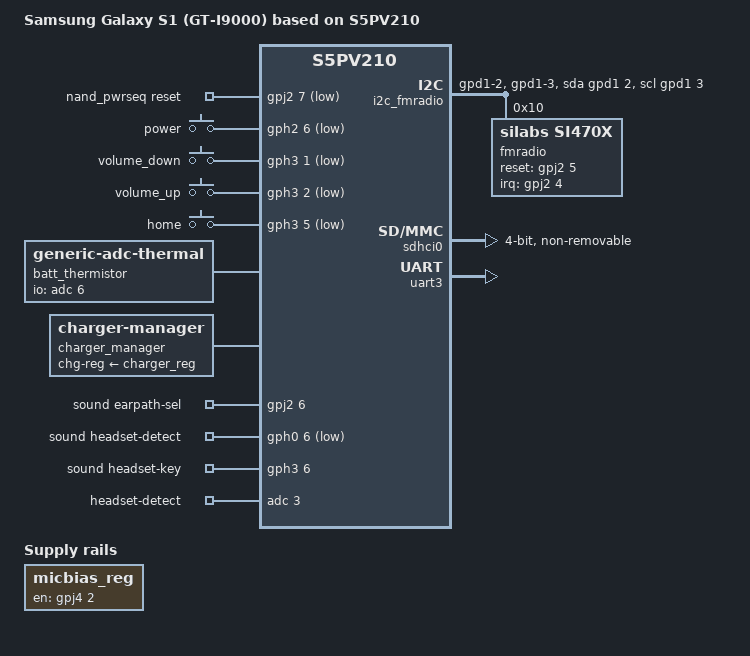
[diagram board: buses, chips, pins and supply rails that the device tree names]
// SPDX-License-Identifier: GPL-2.0

/dts-v1/;
#include <dt-bindings/gpio/gpio.h>
#include <dt-bindings/input/input.h>
#include "s5pv210-aries.dtsi"

/ {
	model = "Samsung Galaxy S1 (GT-I9000) based on S5PV210";
	compatible = "samsung,galaxys", "samsung,aries", "samsung,s5pv210";

	aliases {
		i2c8 = &i2c_fmradio;
	};

	chosen {
		stdout-path = &uart2;
	};

	micbias_reg: regulator-fixed-2 {
		compatible = "regulator-fixed";
		regulator-name = "MICBIAS";
		gpio = <&gpj4 2 GPIO_ACTIVE_HIGH>;
		enable-active-high;

		pinctrl-names = "default";
		pinctrl-0 = <&micbias_reg_ena>;
	};

	nand_pwrseq: nand-pwrseq {
		compatible = "mmc-pwrseq-simple";
		reset-gpios = <&gpj2 7 GPIO_ACTIVE_LOW>;
		pinctrl-names = "default";
		pinctrl-0 = <&massmemory_en>;
	};

	gpio-keys {
		compatible = "gpio-keys";

		power {
			label = "power";
			gpios = <&gph2 6 GPIO_ACTIVE_LOW>;
			linux,code = <KEY_POWER>;
			wakeup-source;
		};

		vol-down {
			label = "volume_down";
			gpios = <&gph3 1 GPIO_ACTIVE_LOW>;
			linux,code = <KEY_VOLUMEDOWN>;
		};

		vol-up {
			label = "volume_up";
			gpios = <&gph3 2 GPIO_ACTIVE_LOW>;
			linux,code = <KEY_VOLUMEUP>;
		};

		home {
			label = "home";
			gpios = <&gph3 5 GPIO_ACTIVE_LOW>;
			linux,code = <KEY_HOME>;
			wakeup-source;
		};
	};

	thermal-zones {
		batt_thermal: batt-thermal {
			polling-delay-passive = <60000>; /* 60 seconds */
			polling-delay = <600000>; /* 600 seconds */

			thermal-sensors = <&batt_thermistor>;
		};
	};

	batt_thermistor: thermal-sensor-0 {
		compatible = "generic-adc-thermal";
		#thermal-sensor-cells = <0>;
		io-channels = <&adc 6>;
		io-channel-names = "sensor-channel";

		temperature-lookup-table = <
			(-7000) 1667
			(-6000) 1658
			(-5000) 1632
			(-4000) 1619
			(-3000) 1614
			(-2000) 1596
			(-1000) 1577
			0 1559
			1000 1536
			2000 1513
			3000 1491
			4000 1468
			5000 1445
			6000 1421
			7000 1396
			8000 1372
			9000 1348
			10000 1324
			11000 1299
			12000 1275
			13000 1251
			14000 1226
			15000 1202
			16000 1178
			17000 1155
			18000 1131
			19000 1108
			20000 1084
			21000 1060
			22000 1037
			23000 1013
			24000 990
			25000 966
			26000 943
			27000 920
			28000 898
			29000 875
			30000 852
			31000 829
			32000 806
			33000 784
			34000 761
			35000 738
			36000 718
			37000 697
			38000 677
			39000 656
			40000 636
			41000 615
			42000 595
			43000 574
			44000 554
			45000 533
			46000 518
			47000 503
			48000 487
			49000 472
			50000 457
			51000 442
			52000 427
			53000 411
			54000 396
			55000 381
			56000 368
			57000 354
			58000 341
			59000 324
			60000 306
			61000 299
			62000 293
			63000 286
			64000 275
			65000 264>;
	};

	charger_manager: charger-manager@0 {
		compatible = "charger-manager";

		cm-name = "cm-battery";

		chg-reg-supply = <&charger_reg>;

		/* poll when externally connected */
		cm-poll-mode = <2>;
		cm-poll-interval = <30>;

		/* read supply status for status */
		cm-battery-stat = <0>;

		cm-battery-temp-diff = <5>;
		cm-battery-hot = <6300>;
		cm-battery-cold = <400>;
		cm-battery-cold-in-minus;

		/* 6hr max charging time */
		cm-charging-max = <21600000>;
		/* 1.5hr max discharging time */
		cm-discharging-max = <5400000>;

		cm-fuel-gauge = "battery";

		cm-fullbatt-voltage = <4176000>;
		cm-fullbatt-vchkdrop-ms = <30000>;
		cm-fullbatt-vchkdrop-volt = <176000>;
		cm-fullbatt-soc = <92>;

		cm-num-chargers = <1>;
		cm-chargers = "max8998_pmic";

		cm-thermal-zone = "batt-thermal";

		regulator@0 {
			cm-regulator-name = "chg-reg";
			cable@0 {
				cm-cable-name = "USB";
				cm-cable-extcon = "7-0025";
				cm-cable-min = <475000>;
				cm-cable-max = <500000>;
			};
			cable@1 {
				cm-cable-name = "TA";
				cm-cable-extcon = "7-0025";
				cm-cable-min = <380000>;
				cm-cable-max = <600000>;
			};
		};
	};

	i2c_fmradio: i2c-gpio-6 {
		compatible = "i2c-gpio";
		sda-gpios = <&gpd1 2 (GPIO_ACTIVE_HIGH | GPIO_OPEN_DRAIN)>;
		scl-gpios = <&gpd1 3 (GPIO_ACTIVE_HIGH | GPIO_OPEN_DRAIN)>;
		i2c-gpio,delay-us = <2>;
		#address-cells = <1>;
		#size-cells = <0>;

		pinctrl-names = "default";
		pinctrl-0 = <&fm_i2c_pins>;

		fmradio@10 {
			compatible = "silabs,si470x";
			reg = <0x10>;
			interrupt-parent = <&gpj2>;
			interrupts = <4 IRQ_TYPE_EDGE_FALLING>;
			reset-gpios = <&gpj2 5 GPIO_ACTIVE_HIGH>;

			pinctrl-names = "default";
			pinctrl-0 = <&fm_irq &fm_rst>;
		};
	};

	sound {
		compatible = "samsung,aries-wm8994";

		model = "Aries";

		dock-extcon = <&fsa9480>;

		samsung,modem-format = "dsp_a";
		samsung,modem-bitclock-inversion;
		samsung,modem-bitclock-master;
		samsung,modem-frame-master;

		main-micbias-supply = <&micbias_reg>;
		headset-micbias-supply = <&micbias_reg>;

		earpath-sel-gpios = <&gpj2 6 GPIO_ACTIVE_HIGH>;

		io-channels = <&adc 3>;
		io-channel-names = "headset-detect";
		headset-detect-gpios = <&gph0 6 GPIO_ACTIVE_LOW>;
		headset-key-gpios = <&gph3 6 GPIO_ACTIVE_HIGH>;

		samsung,audio-routing =
			"HP", "HPOUT1L",
			"HP", "HPOUT1R",

			"SPK", "SPKOUTLN",
			"SPK", "SPKOUTLP",

			"RCV", "HPOUT2N",
			"RCV", "HPOUT2P",

			"LINE", "LINEOUT2N",
			"LINE", "LINEOUT2P",

			"IN1LP", "Main Mic",
			"IN1LN", "Main Mic",

			"IN1RP", "Headset Mic",
			"IN1RN", "Headset Mic",

			"IN2LN", "FM In",
			"IN2RN", "FM In";

		pinctrl-names = "default";
		pinctrl-0 = <&headset_det &earpath_sel>;

		cpu {
			sound-dai = <&i2s0>;
		};

		codec {
			sound-dai = <&wm8994>;
		};
	};
};

&modem {
	compatible = "samsung,intel-xmm6160";

	phone_active-gpios = <&gph1 7 GPIO_ACTIVE_HIGH>;
	pda_active-gpios = <&mp03 3 GPIO_ACTIVE_HIGH>;
	cp_reset-gpios = <&gph1 0 GPIO_ACTIVE_HIGH>;

	pinctrl-0 = <&eint15 &pda_active &cp_rst>;
	pinctrl-names = "default";
};

&pinctrl0 {
	pinctrl-names = "default";
	pinctrl-0 = <&sleep_cfg>;

	headset_det: headset-det {
		samsung,pins = "gph0-6", "gph3-6";
		samsung,pin-function = <EXYNOS_PIN_FUNC_F>;
		samsung,pin-pud = <S3C64XX_PIN_PULL_NONE>;
	};

	cp_rst: cp-rst {
		samsung,pins = "gph1-0";
		samsung,pin-function = <EXYNOS_PIN_FUNC_OUTPUT>;
		samsung,pin-pud = <S3C64XX_PIN_PULL_NONE>;
		samsung,pin-drv = <EXYNOS4_PIN_DRV_LV1>;
		samsung,pin-val = <0>;
	};

	fm_i2c_pins: fm-i2c-pins {
		samsung,pins = "gpd1-2", "gpd1-3";
		samsung,pin-pud = <S3C64XX_PIN_PULL_NONE>;
		samsung,pin-drv = <EXYNOS4_PIN_DRV_LV1>;
	};

	fm_irq: fm-irq {
		samsung,pins = "gpj2-4";
		samsung,pin-function = <EXYNOS_PIN_FUNC_INPUT>;
		samsung,pin-pud = <S3C64XX_PIN_PULL_UP>;
		samsung,pin-drv = <EXYNOS4_PIN_DRV_LV1>;
	};

	fm_rst: fm-rst {
		samsung,pins = "gpj2-5";
		samsung,pin-function = <EXYNOS_PIN_FUNC_OUTPUT>;
		samsung,pin-pud = <S3C64XX_PIN_PULL_NONE>;
		samsung,pin-drv = <EXYNOS4_PIN_DRV_LV1>;
	};

	earpath_sel: earpath-sel {
		samsung,pins = "gpj2-6";
		samsung,pin-pud = <S3C64XX_PIN_PULL_NONE>;
		samsung,pin-drv = <EXYNOS4_PIN_DRV_LV1>;
	};

	massmemory_en: massmemory-en {
		samsung,pins = "gpj2-7";
		samsung,pin-function = <EXYNOS_PIN_FUNC_OUTPUT>;
		samsung,pin-pud = <S3C64XX_PIN_PULL_NONE>;
		samsung,pin-drv = <EXYNOS4_PIN_DRV_LV1>;
	};

	micbias_reg_ena: micbias-reg-ena {
		samsung,pins = "gpj4-2";
		samsung,pin-pud = <S3C64XX_PIN_PULL_NONE>;
		samsung,pin-drv = <EXYNOS4_PIN_DRV_LV1>;
	};

	pda_active: pda-active {
		samsung,pins = "mp03-3";
		samsung,pin-function = <EXYNOS_PIN_FUNC_OUTPUT>;
		samsung,pin-pud = <S3C64XX_PIN_PULL_NONE>;
		samsung,pin-drv = <EXYNOS4_PIN_DRV_LV1>;
		samsung,pin-val = <1>;
	};

	sleep_cfg: sleep-cfg {
		PIN_SLP(gpa0-0, PREV, NONE);
		PIN_SLP(gpa0-1, PREV, NONE);
		PIN_SLP(gpa0-2, PREV, NONE);
		PIN_SLP(gpa0-3, OUT1, NONE);
		PIN_SLP(gpa0-4, INPUT, DOWN);
		PIN_SLP(gpa0-5, OUT0, NONE);
		PIN_SLP(gpa0-6, INPUT, DOWN);
		PIN_SLP(gpa0-7, OUT1, NONE);

		PIN_SLP(gpa1-0, INPUT, DOWN);
		PIN_SLP(gpa1-1, OUT0, NONE);
		PIN_SLP(gpa1-2, INPUT, NONE);
		PIN_SLP(gpa1-3, OUT0, NONE);

		PIN_SLP(gpb-0, OUT0, NONE);
		PIN_SLP(gpb-1, OUT1, NONE);
		PIN_SLP(gpb-2, OUT0, NONE);
		PIN_SLP(gpb-3, PREV, NONE);
		PIN_SLP(gpb-4, INPUT, NONE);
		PIN_SLP(gpb-5, PREV, NONE);
		PIN_SLP(gpb-6, INPUT, DOWN);
		PIN_SLP(gpb-7, OUT0, NONE);

		PIN_SLP(gpc0-0, OUT0, NONE);
		PIN_SLP(gpc0-1, INPUT, DOWN);
		PIN_SLP(gpc0-2, OUT0, NONE);
		PIN_SLP(gpc0-3, INPUT, NONE);
		PIN_SLP(gpc0-4, OUT0, NONE);

		PIN_SLP(gpc1-0, INPUT, DOWN);
		PIN_SLP(gpc1-1, INPUT, DOWN);
		PIN_SLP(gpc1-2, INPUT, DOWN);
		PIN_SLP(gpc1-3, INPUT, DOWN);
		PIN_SLP(gpc1-4, INPUT, DOWN);

		PIN_SLP(gpd0-0, INPUT, DOWN);
		PIN_SLP(gpd0-1, OUT0, NONE);
		PIN_SLP(gpd0-2, INPUT, DOWN);
		PIN_SLP(gpd0-3, INPUT, DOWN);

		PIN_SLP(gpd1-0, INPUT, NONE);
		PIN_SLP(gpd1-1, INPUT, NONE);
		PIN_SLP(gpd1-2, INPUT, NONE);
		PIN_SLP(gpd1-3, INPUT, NONE);
		PIN_SLP(gpd1-4, INPUT, DOWN);
		PIN_SLP(gpd1-5, INPUT, DOWN);

		PIN_SLP(gpe0-0, INPUT, DOWN);
		PIN_SLP(gpe0-1, INPUT, DOWN);
		PIN_SLP(gpe0-2, INPUT, DOWN);
		PIN_SLP(gpe0-3, INPUT, DOWN);
		PIN_SLP(gpe0-4, INPUT, DOWN);
		PIN_SLP(gpe0-5, INPUT, DOWN);
		PIN_SLP(gpe0-6, INPUT, DOWN);
		PIN_SLP(gpe0-7, INPUT, DOWN);

		PIN_SLP(gpe1-0, INPUT, DOWN);
		PIN_SLP(gpe1-1, INPUT, DOWN);
		PIN_SLP(gpe1-2, INPUT, DOWN);
		PIN_SLP(gpe1-3, OUT0, NONE);
		PIN_SLP(gpe1-4, INPUT, DOWN);

		PIN_SLP(gpf0-0, OUT0, NONE);
		PIN_SLP(gpf0-1, OUT0, NONE);
		PIN_SLP(gpf0-2, OUT0, NONE);
		PIN_SLP(gpf0-3, OUT0, NONE);
		PIN_SLP(gpf0-4, OUT0, NONE);
		PIN_SLP(gpf0-5, OUT0, NONE);
		PIN_SLP(gpf0-6, OUT0, NONE);
		PIN_SLP(gpf0-7, OUT0, NONE);

		PIN_SLP(gpf1-0, OUT0, NONE);
		PIN_SLP(gpf1-1, OUT0, NONE);
		PIN_SLP(gpf1-2, OUT0, NONE);
		PIN_SLP(gpf1-3, OUT0, NONE);
		PIN_SLP(gpf1-4, OUT0, NONE);
		PIN_SLP(gpf1-5, OUT0, NONE);
		PIN_SLP(gpf1-6, OUT0, NONE);
		PIN_SLP(gpf1-7, OUT0, NONE);

		PIN_SLP(gpf2-0, OUT0, NONE);
		PIN_SLP(gpf2-1, OUT0, NONE);
		PIN_SLP(gpf2-2, OUT0, NONE);
		PIN_SLP(gpf2-3, OUT0, NONE);
		PIN_SLP(gpf2-4, OUT0, NONE);
		PIN_SLP(gpf2-5, OUT0, NONE);
		PIN_SLP(gpf2-6, OUT0, NONE);
		PIN_SLP(gpf2-7, OUT0, NONE);

		PIN_SLP(gpf3-0, OUT0, NONE);
		PIN_SLP(gpf3-1, OUT0, NONE);
		PIN_SLP(gpf3-2, OUT0, NONE);
		PIN_SLP(gpf3-3, OUT0, NONE);
		PIN_SLP(gpf3-4, PREV, NONE);
		PIN_SLP(gpf3-5, INPUT, DOWN);

		PIN_SLP(gpg0-0, OUT0, NONE);
		PIN_SLP(gpg0-1, INPUT, NONE);
		PIN_SLP(gpg0-2, INPUT, NONE);
		PIN_SLP(gpg0-3, INPUT, NONE);
		PIN_SLP(gpg0-4, INPUT, NONE);
		PIN_SLP(gpg0-5, INPUT, NONE);
		PIN_SLP(gpg0-6, INPUT, NONE);

		PIN_SLP(gpg1-0, OUT0, NONE);
		PIN_SLP(gpg1-1, OUT1, NONE);
		PIN_SLP(gpg1-2, PREV, NONE);
		PIN_SLP(gpg1-3, OUT1, NONE);
		PIN_SLP(gpg1-4, OUT1, NONE);
		PIN_SLP(gpg1-5, OUT1, NONE);
		PIN_SLP(gpg1-6, OUT1, NONE);

		PIN_SLP(gpg2-0, OUT0, NONE);
		PIN_SLP(gpg2-1, OUT0, NONE);
		PIN_SLP(gpg2-2, INPUT, NONE);
		PIN_SLP(gpg2-3, OUT0, NONE);
		PIN_SLP(gpg2-4, OUT0, NONE);
		PIN_SLP(gpg2-5, OUT0, NONE);
		PIN_SLP(gpg2-6, OUT0, NONE);

		PIN_SLP(gpg3-0, OUT1, NONE);
		PIN_SLP(gpg3-1, OUT0, NONE);
		PIN_SLP(gpg3-2, INPUT, NONE);
		PIN_SLP(gpg3-3, INPUT, DOWN);
		PIN_SLP(gpg3-4, OUT0, NONE);
		PIN_SLP(gpg3-5, OUT0, NONE);
		PIN_SLP(gpg3-6, INPUT, DOWN);

		PIN_SLP(gpi-0, PREV, NONE);
		PIN_SLP(gpi-1, INPUT, DOWN);
		PIN_SLP(gpi-2, PREV, NONE);
		PIN_SLP(gpi-3, PREV, NONE);
		PIN_SLP(gpi-4, PREV, NONE);
		PIN_SLP(gpi-5, INPUT, DOWN);
		PIN_SLP(gpi-6, INPUT, DOWN);

		PIN_SLP(gpj0-0, INPUT, NONE);
		PIN_SLP(gpj0-1, INPUT, NONE);
		PIN_SLP(gpj0-2, INPUT, NONE);
		PIN_SLP(gpj0-3, INPUT, NONE);
		PIN_SLP(gpj0-4, INPUT, NONE);
		PIN_SLP(gpj0-5, INPUT, DOWN);
		PIN_SLP(gpj0-6, OUT0, NONE);
		PIN_SLP(gpj0-7, INPUT, NONE);

		PIN_SLP(gpj1-0, INPUT, DOWN);
		PIN_SLP(gpj1-1, OUT0, NONE);
		PIN_SLP(gpj1-2, INPUT, DOWN);
		PIN_SLP(gpj1-3, PREV, NONE);
		PIN_SLP(gpj1-4, PREV, NONE);
		PIN_SLP(gpj1-5, OUT0, NONE);

		PIN_SLP(gpj2-0, INPUT, DOWN);
		PIN_SLP(gpj2-1, INPUT, DOWN);
		PIN_SLP(gpj2-2, OUT0, NONE);
		PIN_SLP(gpj2-3, INPUT, DOWN);
		PIN_SLP(gpj2-4, INPUT, UP);
		PIN_SLP(gpj2-5, PREV, NONE);
		PIN_SLP(gpj2-6, PREV, NONE);
		PIN_SLP(gpj2-7, OUT1, NONE);

		PIN_SLP(gpj3-0, INPUT, NONE);
		PIN_SLP(gpj3-1, INPUT, NONE);
		PIN_SLP(gpj3-2, OUT0, NONE);
		PIN_SLP(gpj3-3, INPUT, DOWN);
		PIN_SLP(gpj3-4, INPUT, NONE);
		PIN_SLP(gpj3-5, INPUT, NONE);
		PIN_SLP(gpj3-6, INPUT, NONE);
		PIN_SLP(gpj3-7, INPUT, NONE);

		PIN_SLP(gpj4-0, INPUT, NONE);
		PIN_SLP(gpj4-1, INPUT, DOWN);
		PIN_SLP(gpj4-2, PREV, NONE);
		PIN_SLP(gpj4-3, INPUT, NONE);
		PIN_SLP(gpj4-4, INPUT, DOWN);

		PIN_SLP(mp01-0, INPUT, DOWN);
		PIN_SLP(mp01-1, OUT0, NONE);
		PIN_SLP(mp01-2, INPUT, DOWN);
		PIN_SLP(mp01-3, INPUT, DOWN);
		PIN_SLP(mp01-4, OUT1, NONE);
		PIN_SLP(mp01-5, INPUT, DOWN);
		PIN_SLP(mp01-6, INPUT, DOWN);
		PIN_SLP(mp01-7, INPUT, DOWN);

		PIN_SLP(mp02-0, INPUT, DOWN);
		PIN_SLP(mp02-1, INPUT, DOWN);
		PIN_SLP(mp02-2, INPUT, NONE);
		PIN_SLP(mp02-3, INPUT, DOWN);

		PIN_SLP(mp03-0, INPUT, DOWN);
		PIN_SLP(mp03-1, INPUT, DOWN);
		PIN_SLP(mp03-2, OUT1, NONE);
		PIN_SLP(mp03-3, OUT0, NONE);
		PIN_SLP(mp03-4, INPUT, NONE);
		PIN_SLP(mp03-5, OUT1, NONE);
		PIN_SLP(mp03-6, INPUT, DOWN);
		PIN_SLP(mp03-7, INPUT, DOWN);

		PIN_SLP(mp04-0, INPUT, DOWN);
		PIN_SLP(mp04-1, OUT0, NONE);
		PIN_SLP(mp04-2, INPUT, DOWN);
		PIN_SLP(mp04-3, OUT0, NONE);
		PIN_SLP(mp04-4, INPUT, DOWN);
		PIN_SLP(mp04-5, INPUT, DOWN);
		PIN_SLP(mp04-6, OUT0, NONE);
		PIN_SLP(mp04-7, INPUT, DOWN);

		PIN_SLP(mp05-0, INPUT, NONE);
		PIN_SLP(mp05-1, INPUT, NONE);
		PIN_SLP(mp05-2, INPUT, NONE);
		PIN_SLP(mp05-3, INPUT, NONE);
		PIN_SLP(mp05-4, INPUT, DOWN);
		PIN_SLP(mp05-5, OUT0, NONE);
		PIN_SLP(mp05-6, INPUT, DOWN);
		PIN_SLP(mp05-7, PREV, NONE);

		PIN_SLP(mp06-0, INPUT, DOWN);
		PIN_SLP(mp06-1, INPUT, DOWN);
		PIN_SLP(mp06-2, INPUT, DOWN);
		PIN_SLP(mp06-3, INPUT, DOWN);
		PIN_SLP(mp06-4, INPUT, DOWN);
		PIN_SLP(mp06-5, INPUT, DOWN);
		PIN_SLP(mp06-6, INPUT, DOWN);
		PIN_SLP(mp06-7, INPUT, DOWN);

		PIN_SLP(mp07-0, INPUT, DOWN);
		PIN_SLP(mp07-1, INPUT, DOWN);
		PIN_SLP(mp07-2, INPUT, DOWN);
		PIN_SLP(mp07-3, INPUT, DOWN);
		PIN_SLP(mp07-4, INPUT, DOWN);
		PIN_SLP(mp07-5, INPUT, DOWN);
		PIN_SLP(mp07-6, INPUT, DOWN);
		PIN_SLP(mp07-7, INPUT, DOWN);
	};
};

&sdhci0 {
	bus-width = <4>;
	non-removable;
	mmc-pwrseq = <&nand_pwrseq>;
	pinctrl-0 = <&sd0_clk &sd0_cmd &sd0_bus4>;
	pinctrl-names = "default";
	status = "okay";
};

&uart3 {
	status = "okay";
};
